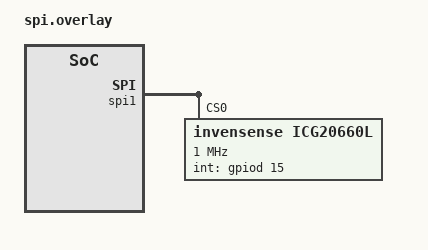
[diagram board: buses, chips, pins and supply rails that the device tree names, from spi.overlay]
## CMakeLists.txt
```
# Copyright (c) 2024 NXP
# SPDX-License-Identifier: Apache-2.0

cmake_minimum_required(VERSION 3.20.0)

find_package(Zephyr REQUIRED HINTS $ENV{ZEPHYR_BASE})
project(accel_trig)

FILE(GLOB app_sources src/*.c)
target_sources(app PRIVATE ${app_sources})
```

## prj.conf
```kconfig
CONFIG_STDOUT_CONSOLE=y
CONFIG_SENSOR=y
CONFIG_CBPRINTF_FP_SUPPORT=y


CONFIG_ICG20660L=y
CONFIG_ICG20660L_TRIGGER_OWN_THREAD=y
CONFIG_I2C=y
```

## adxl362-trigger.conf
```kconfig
# Copyright (c) 2024 Analog Devices, Inc.
# SPDX-License-Identifier: Apache-2.0

# CONFIG_ADXL362_TRIGGER_OWN_THREAD=y
# CONFIG_ADXL362_ACCEL_ODR_400=y
```

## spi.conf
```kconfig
CONFIG_STDOUT_CONSOLE=y
CONFIG_SENSOR=y
CONFIG_CBPRINTF_FP_SUPPORT=y


CONFIG_ICG20660L=y
CONFIG_ICG20660L_TRIGGER_OWN_THREAD=y
CONFIG_SPI=y
```

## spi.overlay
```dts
/ {
	aliases {
		accel0 = &icg20660l;
	};
};

&spi1 {
	status = "okay";

	icg20660l: icg20660l@0 {
		compatible = "invensense,icg20660l";
		reg = <0>;
		spi-max-frequency = <1000000>;
		status = "okay";
		accel-fs = <8>;  /* ±4g */
		gyro-fs = <0>;   /* ±125 dps */
		odr = <1000>;
		int-gpios = <&gpiod 15 GPIO_ACTIVE_HIGH>;
	};
};
```

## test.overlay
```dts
/ {
	aliases {
		accel0 = &icg20660l;
	};
};

&i2c1 {
	status = "okay";

	icg20660l: icg20660l@69 {
		compatible = "invensense,icg20660l";
		reg = <0x69>;
		status = "okay";
		accel-fs = <0>;  /* ±2g */
		gyro-fs = <0>;   /* ±125 dps */
		odr = <500>;
		int-gpios = <&gpiod 15 GPIO_ACTIVE_HIGH>;
	};
};
```

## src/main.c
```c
/*
 * Copyright 2024 NXP
 * Copyright (c) 2018 Phytec Messtechnik GmbH
 *
 * SPDX-License-Identifier: Apache-2.0
 */

#include <zephyr/kernel.h>
#include <zephyr/drivers/sensor.h>
#include <zephyr/sys/atomic.h>
#include <stdio.h>

K_SEM_DEFINE(sem, 0, 1); /* starts off "not available" */

static atomic_t irq_count;

#ifdef CONFIG_SAMPLE_TAP_DETECTION
static void tap_trigger_handler(const struct device *dev, const struct sensor_trigger *trigger)
{
	ARG_UNUSED(trigger);
	printf("TAP detected\n");

	if (sensor_sample_fetch_chan(dev, SENSOR_CHAN_ACCEL_XYZ) < 0) {
		printf("ERROR: SENSOR_CHAN_ACCEL_XYZ fetch failed\n");
	}

	k_sem_give(&sem);
}
#else
static void trigger_handler(const struct device *dev, const struct sensor_trigger *trigger)
{
	ARG_UNUSED(trigger);

	atomic_inc(&irq_count);

	/* Always fetch the sample to clear the data ready interrupt in the
	 * sensor.
	 */
	if (sensor_sample_fetch(dev)) {
		printf("sensor_sample_fetch failed\n");
		return;
	}

	k_sem_give(&sem);
}
#endif

static void stats_work_handler(struct k_work *work)
{
	ARG_UNUSED(work);

	atomic_val_t count = atomic_set(&irq_count, 0);
	printf("[stats] interrupts in last 1000 ms: %ld\n", (long)count);

	k_work_schedule(k_work_delayable_from_work(work), K_MSEC(1000));
}

static K_WORK_DELAYABLE_DEFINE(stats_work, stats_work_handler);

int main(void)
{
	struct sensor_value data[3];
	const struct device *const dev = DEVICE_DT_GET(DT_ALIAS(accel0));

	struct sensor_trigger trig = {
		.type = SENSOR_TRIG_DATA_READY,
		.chan = SENSOR_CHAN_ACCEL_XYZ,
	};

	if (!device_is_ready(dev)) {
		printf("Device %s is not ready\n", dev->name);
		return 0;
	}

#ifdef CONFIG_SAMPLE_TAP_DETECTION
	trig.type = SENSOR_TRIG_DOUBLE_TAP;
	trig.chan = SENSOR_CHAN_ACCEL_XYZ;
	if (sensor_trigger_set(dev, &trig, tap_trigger_handler) < 0) {
		printf("Could not set tap trigger\n");
		return 0;
	}
#else
	if (sensor_trigger_set(dev, &trig, trigger_handler)) {
		printf("Could not set trigger\n");
		return 0;
	}
#endif

	// Start the stats work to print interrupt count every second.
	// This is to demonstrate that the trigger handler is being called at the expected rate.
	// The expected rate is configured in the device tree for the sensor's output data rate (ODR).
	k_work_schedule(&stats_work, K_MSEC(1000));

	while (1) {
		// k_sem_take(&sem, K_FOREVER);
		sensor_channel_get(dev, SENSOR_CHAN_ACCEL_XYZ, data);
		uint32_t timestamp = k_uptime_get_32();

		/* Print timestamp and accel x,y,z data */
		printf("[%10u ms] %16s [m/s^2]:    (%12.6f, %12.6f, %12.6f)\n",
		       timestamp, dev->name,
		       sensor_value_to_double(&data[0]), sensor_value_to_double(&data[1]),
		       sensor_value_to_double(&data[2]));
		k_sleep(K_MSEC(1000));
	}
}
```
